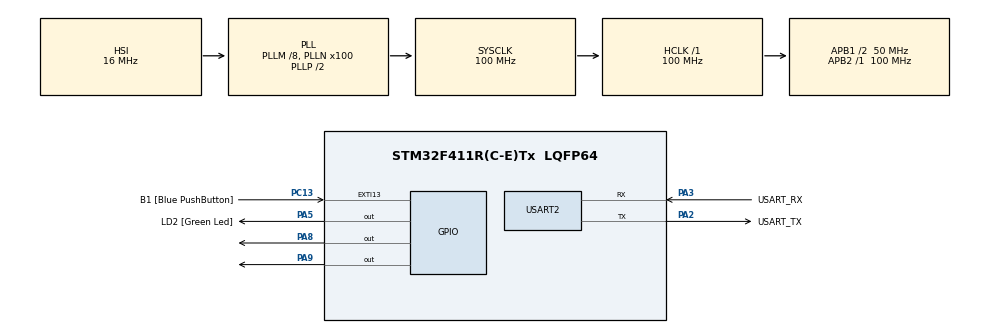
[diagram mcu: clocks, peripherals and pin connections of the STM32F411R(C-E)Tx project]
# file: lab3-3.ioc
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Mcu.Family=STM32F4
Mcu.Name=STM32F411R(C-E)Tx
Mcu.Package=LQFP64
NVIC.PriorityGroup=NVIC_PRIORITYGROUP_0
NVIC.TIM1_BRK_TIM9_IRQn=true\:0\:0\:false\:false\:true\:true\:true\:true
NVIC.TIM1_CC_IRQn=true\:0\:0\:false\:false\:true\:true\:true\:true
NVIC.TIM1_TRG_COM_TIM11_IRQn=true\:0\:0\:false\:false\:true\:true\:true\:true
NVIC.TIM1_UP_TIM10_IRQn=true\:0\:0\:false\:false\:true\:true\:true\:true
NVIC.TIM3_IRQn=true\:0\:0\:false\:false\:true\:true\:true\:true
NVIC.TIM4_IRQn=true\:0\:0\:false\:false\:true\:true\:true\:true
PA13.GPIO_Label=TMS
PA13.Mode=Serial_Wire
PA13.Signal=SYS_JTMS-SWDIO
PA14.GPIO_Label=TCK
PA14.Mode=Serial_Wire
PA14.Signal=SYS_JTCK-SWCLK
PA2.GPIO_Label=USART_TX
PA2.Mode=Asynchronous
PA2.Signal=USART2_TX
PA3.GPIO_Label=USART_RX
PA3.Mode=Asynchronous
PA3.Signal=USART2_RX
PA5.GPIO_Label=LD2 [Green Led]
PA5.Signal=GPIO_Output
PA8.Signal=GPIO_Output
PA9.Signal=GPIO_Output
PB3.GPIO_Label=SWO
PB3.Signal=SYS_JTDO-SWO
PC13-ANTI_TAMP.GPIO_Label=B1 [Blue PushButton]
PC13-ANTI_TAMP.GPIO_ModeDefaultEXTI=GPIO_MODE_IT_FALLING
PC13-ANTI_TAMP.Signal=GPXTI13
PC14-OSC32_IN.Mode=LSE-External-Oscillator
PC14-OSC32_IN.Signal=RCC_OSC32_IN
PC15-OSC32_OUT.Mode=LSE-External-Oscillator
PC15-OSC32_OUT.Signal=RCC_OSC32_OUT
PH0\ -\ OSC_IN.Mode=HSE-External-Clock-Source
PH0\ -\ OSC_IN.Signal=RCC_OSC_IN
PH1\ -\ OSC_OUT.Mode=HSE-External-Clock-Source
PH1\ -\ OSC_OUT.Signal=RCC_OSC_OUT
ProjectManager.HeapSize=0x200
ProjectManager.StackSize=0x400
ProjectManager.TargetToolchain=STM32CubeIDE
RCC.48MHZClocksFreq_Value=50000000
RCC.AHBFreq_Value=100000000
RCC.APB1CLKDivider=RCC_HCLK_DIV2
RCC.APB1Freq_Value=50000000
RCC.APB1TimFreq_Value=100000000
RCC.APB2Freq_Value=100000000
RCC.APB2TimFreq_Value=100000000
RCC.CortexFreq_Value=100000000
RCC.FLatency-AdvancedSettings=FLASH_LATENCY_3
RCC.HCLKFreq_Value=100000000
RCC.HSE_VALUE=8000000
RCC.HSI_VALUE=16000000
RCC.PLLM=8
RCC.PLLN=100
RCC.SYSCLKFreq_VALUE=100000000
RCC.SYSCLKSource=RCC_SYSCLKSOURCE_PLLCLK
RCC.VCOOutputFreq_Value=200000000
TIM1.Period=4999
TIM1.Prescaler=9999
TIM3.Period=4904
TIM3.Prescaler=9999
TIM4.Period=9998
TIM4.Prescaler=9999
USART2.VirtualMode=VM_ASYNC
VP_TIM1_VS_ClockSourceINT.Mode=Internal
VP_TIM3_VS_ClockSourceINT.Mode=Internal
VP_TIM4_VS_ClockSourceINT.Mode=Internal
board=NUCLEO-F411RE

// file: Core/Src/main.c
/* USER CODE BEGIN Header */
/**
 ******************************************************************************
 * @file           : main.c
 * @brief          : Main program body
 ******************************************************************************
 * @attention
 *
 * Copyright (c) 2026 STMicroelectronics.
 * All rights reserved.
 *
 * This software is licensed under terms that can be found in the LICENSE file
 * in the root directory of this software component.
 * If no LICENSE file comes with this software, it is provided AS-IS.
 *
 ******************************************************************************
 */
#include <stdio.h>
/* USER CODE END Header */
#include "main.h"

TIM_HandleTypeDef htim1;
TIM_HandleTypeDef htim3;
TIM_HandleTypeDef htim4;

UART_HandleTypeDef huart2;

void SystemClock_Config(void);
static void MX_GPIO_Init(void);
static void MX_USART2_UART_Init(void);
static void MX_TIM1_Init(void);
static void MX_TIM3_Init(void);
static void MX_TIM4_Init(void);

/* USER CODE BEGIN 0 */
uint32_t led1_blinks=0;
uint32_t led2_blinks=0;
uint32_t uart_send_flag=0;
void HAL_TIM_PeriodElapsedCallback(TIM_HandleTypeDef *htim) {
	// TIM1 fires every 500 ms
	if (htim->Instance == TIM1) {
		HAL_GPIO_TogglePin(GPIOA, GPIO_PIN_9);
		led1_blinks++;
	}
	// TIM3 fires every 490.5 ms
	else if (htim->Instance == TIM3) {
		HAL_GPIO_TogglePin(GPIOA, GPIO_PIN_8);
		led2_blinks++;
	}
	// TIM4 fires every 999.9 ms
	else if (htim->Instance == TIM4) {
		uart_send_flag = 1;
	}
}
/* USER CODE END 0 */

int main(void)
{

  /* MCU Configuration--------------------------------------------------------*/

  /* Reset of all peripherals, Initializes the Flash interface and the Systick. */
  HAL_Init();

  /* Configure the system clock */
  SystemClock_Config();

  /* Initialize all configured peripherals */
  MX_GPIO_Init();
  MX_USART2_UART_Init();
  MX_TIM1_Init();
  MX_TIM3_Init();
  MX_TIM4_Init();

  /* Infinite loop */
  /* USER CODE BEGIN WHILE */
	HAL_TIM_Base_Start_IT(&htim1);
	HAL_TIM_Base_Start_IT(&htim3);
	HAL_TIM_Base_Start_IT(&htim4);
	while (1) {
		if (uart_send_flag) {
			uart_send_flag = 0;
			char msg[64];
			int len = snprintf(msg, sizeof(msg), "LED1=%lu LED2=%lu\r\n",
					led1_blinks, led2_blinks);
			HAL_UART_Transmit(&huart2, (uint8_t*) msg, len, HAL_MAX_DELAY);
		}
    /* USER CODE END WHILE */

	}
}

void SystemClock_Config(void)
{
  RCC_OscInitTypeDef RCC_OscInitStruct = {0};
  RCC_ClkInitTypeDef RCC_ClkInitStruct = {0};

  /** Configure the main internal regulator output voltage
  */
  __HAL_RCC_PWR_CLK_ENABLE();
  __HAL_PWR_VOLTAGESCALING_CONFIG(PWR_REGULATOR_VOLTAGE_SCALE1);

  /** Initializes the RCC Oscillators according to the specified parameters
  * in the RCC_OscInitTypeDef structure.
  */
  RCC_OscInitStruct.OscillatorType = RCC_OSCILLATORTYPE_HSI;
  RCC_OscInitStruct.HSIState = RCC_HSI_ON;
  RCC_OscInitStruct.HSICalibrationValue = RCC_HSICALIBRATION_DEFAULT;
  RCC_OscInitStruct.PLL.PLLState = RCC_PLL_ON;
  RCC_OscInitStruct.PLL.PLLSource = RCC_PLLSOURCE_HSI;
  RCC_OscInitStruct.PLL.PLLM = 8;
  RCC_OscInitStruct.PLL.PLLN = 100;
  RCC_OscInitStruct.PLL.PLLP = RCC_PLLP_DIV2;
  RCC_OscInitStruct.PLL.PLLQ = 4;
  if (HAL_RCC_OscConfig(&RCC_OscInitStruct) != HAL_OK)
  {
    Error_Handler();
  }

  /** Initializes the CPU, AHB and APB buses clocks
  */
  RCC_ClkInitStruct.ClockType = RCC_CLOCKTYPE_HCLK|RCC_CLOCKTYPE_SYSCLK
                              |RCC_CLOCKTYPE_PCLK1|RCC_CLOCKTYPE_PCLK2;
  RCC_ClkInitStruct.SYSCLKSource = RCC_SYSCLKSOURCE_PLLCLK;
  RCC_ClkInitStruct.AHBCLKDivider = RCC_SYSCLK_DIV1;
  RCC_ClkInitStruct.APB1CLKDivider = RCC_HCLK_DIV2;
  RCC_ClkInitStruct.APB2CLKDivider = RCC_HCLK_DIV1;

  if (HAL_RCC_ClockConfig(&RCC_ClkInitStruct, FLASH_LATENCY_3) != HAL_OK)
  {
    Error_Handler();
  }
}

static void MX_TIM1_Init(void)
{

  TIM_ClockConfigTypeDef sClockSourceConfig = {0};
  TIM_MasterConfigTypeDef sMasterConfig = {0};

  htim1.Instance = TIM1;
  htim1.Init.Prescaler = 9999;
  htim1.Init.CounterMode = TIM_COUNTERMODE_UP;
  htim1.Init.Period = 4999;
  htim1.Init.ClockDivision = TIM_CLOCKDIVISION_DIV1;
  htim1.Init.RepetitionCounter = 0;
  htim1.Init.AutoReloadPreload = TIM_AUTORELOAD_PRELOAD_DISABLE;
  if (HAL_TIM_Base_Init(&htim1) != HAL_OK)
  {
    Error_Handler();
  }
  sClockSourceConfig.ClockSource = TIM_CLOCKSOURCE_INTERNAL;
  if (HAL_TIM_ConfigClockSource(&htim1, &sClockSourceConfig) != HAL_OK)
  {
    Error_Handler();
  }
  sMasterConfig.MasterOutputTrigger = TIM_TRGO_RESET;
  sMasterConfig.MasterSlaveMode = TIM_MASTERSLAVEMODE_DISABLE;
  if (HAL_TIMEx_MasterConfigSynchronization(&htim1, &sMasterConfig) != HAL_OK)
  {
    Error_Handler();
  }

}

static void MX_TIM3_Init(void)
{

  TIM_ClockConfigTypeDef sClockSourceConfig = {0};
  TIM_MasterConfigTypeDef sMasterConfig = {0};

  htim3.Instance = TIM3;
  htim3.Init.Prescaler = 9999;
  htim3.Init.CounterMode = TIM_COUNTERMODE_UP;
  htim3.Init.Period = 4904;
  htim3.Init.ClockDivision = TIM_CLOCKDIVISION_DIV1;
  htim3.Init.AutoReloadPreload = TIM_AUTORELOAD_PRELOAD_DISABLE;
  if (HAL_TIM_Base_Init(&htim3) != HAL_OK)
  {
    Error_Handler();
  }
  sClockSourceConfig.ClockSource = TIM_CLOCKSOURCE_INTERNAL;
  if (HAL_TIM_ConfigClockSource(&htim3, &sClockSourceConfig) != HAL_OK)
  {
    Error_Handler();
  }
  sMasterConfig.MasterOutputTrigger = TIM_TRGO_RESET;
  sMasterConfig.MasterSlaveMode = TIM_MASTERSLAVEMODE_DISABLE;
  if (HAL_TIMEx_MasterConfigSynchronization(&htim3, &sMasterConfig) != HAL_OK)
  {
    Error_Handler();
  }

}

static void MX_TIM4_Init(void)
{

  TIM_ClockConfigTypeDef sClockSourceConfig = {0};
  TIM_MasterConfigTypeDef sMasterConfig = {0};

  htim4.Instance = TIM4;
  htim4.Init.Prescaler = 9999;
  htim4.Init.CounterMode = TIM_COUNTERMODE_UP;
  htim4.Init.Period = 9998;
  htim4.Init.ClockDivision = TIM_CLOCKDIVISION_DIV1;
  htim4.Init.AutoReloadPreload = TIM_AUTORELOAD_PRELOAD_DISABLE;
  if (HAL_TIM_Base_Init(&htim4) != HAL_OK)
  {
    Error_Handler();
  }
  sClockSourceConfig.ClockSource = TIM_CLOCKSOURCE_INTERNAL;
  if (HAL_TIM_ConfigClockSource(&htim4, &sClockSourceConfig) != HAL_OK)
  {
    Error_Handler();
  }
  sMasterConfig.MasterOutputTrigger = TIM_TRGO_RESET;
  sMasterConfig.MasterSlaveMode = TIM_MASTERSLAVEMODE_DISABLE;
  if (HAL_TIMEx_MasterConfigSynchronization(&htim4, &sMasterConfig) != HAL_OK)
  {
    Error_Handler();
  }

}

static void MX_USART2_UART_Init(void)
{

  huart2.Instance = USART2;
  huart2.Init.BaudRate = 115200;
  huart2.Init.WordLength = UART_WORDLENGTH_8B;
  huart2.Init.StopBits = UART_STOPBITS_1;
  huart2.Init.Parity = UART_PARITY_NONE;
  huart2.Init.Mode = UART_MODE_TX_RX;
  huart2.Init.HwFlowCtl = UART_HWCONTROL_NONE;
  huart2.Init.OverSampling = UART_OVERSAMPLING_16;
  if (HAL_UART_Init(&huart2) != HAL_OK)
  {
    Error_Handler();
  }

}

static void MX_GPIO_Init(void)
{
  GPIO_InitTypeDef GPIO_InitStruct = {0};

  /* GPIO Ports Clock Enable */
  __HAL_RCC_GPIOC_CLK_ENABLE();
  __HAL_RCC_GPIOH_CLK_ENABLE();
  __HAL_RCC_GPIOA_CLK_ENABLE();
  __HAL_RCC_GPIOB_CLK_ENABLE();

  /*Configure GPIO pin Output Level */
  HAL_GPIO_WritePin(GPIOA, LD2_Pin|GPIO_PIN_8|GPIO_PIN_9, GPIO_PIN_RESET);

  /*Configure GPIO pin : B1_Pin */
  GPIO_InitStruct.Pin = B1_Pin;
  GPIO_InitStruct.Mode = GPIO_MODE_IT_FALLING;
  GPIO_InitStruct.Pull = GPIO_NOPULL;
  HAL_GPIO_Init(B1_GPIO_Port, &GPIO_InitStruct);

  /*Configure GPIO pins : LD2_Pin PA8 PA9 */
  GPIO_InitStruct.Pin = LD2_Pin|GPIO_PIN_8|GPIO_PIN_9;
  GPIO_InitStruct.Mode = GPIO_MODE_OUTPUT_PP;
  GPIO_InitStruct.Pull = GPIO_NOPULL;
  GPIO_InitStruct.Speed = GPIO_SPEED_FREQ_LOW;
  HAL_GPIO_Init(GPIOA, &GPIO_InitStruct);

}

void Error_Handler(void)
{
	__disable_irq();
	while (1) {
	}
}
